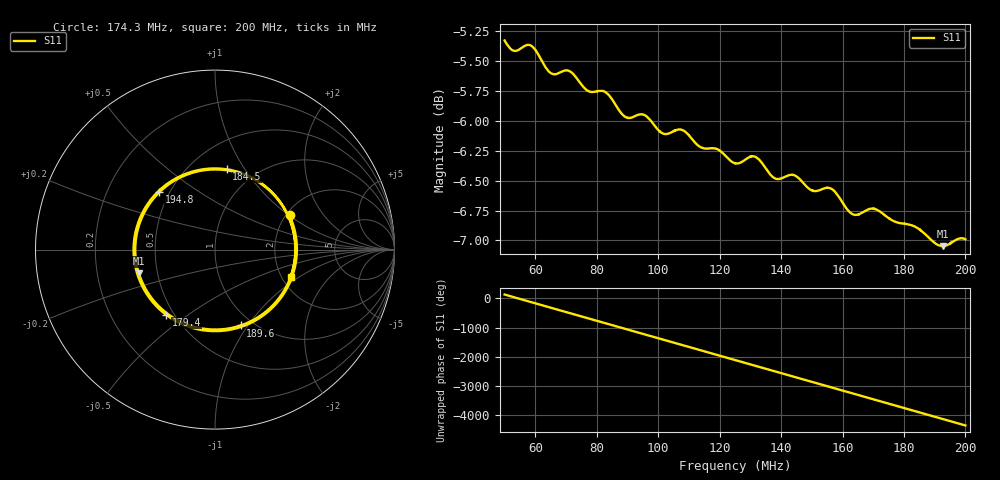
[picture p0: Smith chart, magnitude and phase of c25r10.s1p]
! COPPER MOUNTAIN TECHNOLOGIES, PLANAR TR1300/1, 00071119, 20.2.2/1.0
! Date: 12/11/2023 3:02:03 PM
! Data: Format [Calibration Info]
! Freq  S11: Re/Im F1
# HZ S RI R 50
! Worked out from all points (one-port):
!   12288 points, 50 MHz to 200 MHz, reference 50 ohm
!   lowest |S11| = -7.0 dB at 192.7 MHz (marker M1), VSWR 2.60, Z = 19.6 - j6.48 ohm
!   |S11| at or under -10 dB: nowhere
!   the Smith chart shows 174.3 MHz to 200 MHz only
!   S11 on the Smith chart (normalised r, x): 174.3 MHz: 2.09, +1.01; 179.4 MHz: 0.45, -0.42; 184.5 MHz: 0.74, +0.83; 189.6 MHz: 0.88, -0.93; 194.8 MHz: 0.44, +0.35; 200 MHz: 2.23, -0.84
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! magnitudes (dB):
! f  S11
! 50 MHz  -5.3
! 53.15 MHz  -5.4
! 58.52 MHz  -5.4
! 64.72 MHz  -5.6
! 68.75 MHz  -5.6
! 77.3 MHz  -5.8
! 82.96 MHz  -5.8
! 87.5 MHz  -5.9
! 95.6 MHz  -6.0
! 101.7 MHz  -6.1
! 106.3 MHz  -6.1
! 125 MHz  -6.4
! 131.2 MHz  -6.3
! 138 MHz  -6.5
! 143.8 MHz  -6.5
! 150.1 MHz  -6.6
! 156.6 MHz  -6.6
! 162.5 MHz  -6.8
! 170 MHz  -6.7
! 174.3 MHz  -6.8
! 179.4 MHz  -6.9
! 181.3 MHz  -6.9
! 184.5 MHz  -6.9
! 189.6 MHz  -7.0
! 192.7 MHz  -7.0
! 194.8 MHz  -7.0
! 200 MHz  -7.0
! 200 MHz  -7.0
